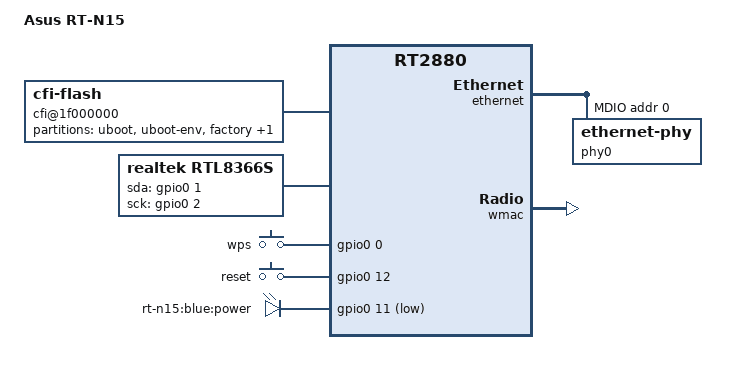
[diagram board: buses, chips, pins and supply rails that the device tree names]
/dts-v1/;

#include "rt2880.dtsi"

/ {
	#address-cells = <1>;
	#size-cells = <1>;
	compatible = "RT-N15", "ralink,rt2880-soc";
	model = "Asus RT-N15";

	cfi@1f000000 {
		compatible = "cfi-flash";
		reg = <0x1f000000 0x800000>;
		bank-width = <2>;
		device-width = <2>;
		#address-cells = <1>;
		#size-cells = <1>;

		partition@0 {
			label = "uboot";
			reg = <0x0 0x30000>;
			read-only;
		};

		partition@30000 {
			label = "uboot-env";
			reg = <0x30000 0x10000>;
			read-only;
		};

		factory: partition@40000 {
			label = "factory";
			reg = <0x40000 0x10000>;
			read-only;
		};

		partition@50000 {
			label = "firmware";
			reg = <0x50000 0x3b0000>;
		};
	};

	rtl8366s {
		compatible = "realtek,rtl8366s";
		gpio-sda = <&gpio0 1 0>;
		gpio-sck = <&gpio0 2 0>;
	};

	gpio-keys-polled {
		compatible = "gpio-keys-polled";
		#address-cells = <1>;
		#size-cells = <0>;
		poll-interval = <100>;

		wps {
			label = "wps";
			gpios = <&gpio0 0 0>;
			linux,code = <0x211>;
		};

		reset {
			label = "reset";
			gpios = <&gpio0 12 0>;
			linux,code = <0x198>;
		};
	};

	gpio-leds {
		compatible = "gpio-leds";

		power {
			label = "rt-n15:blue:power";
			gpios = <&gpio0 11 1>;
		};
	};
};

&gpio0 {
	status = "okay";
};

&pinctrl {
	state_default: pinctrl0 {
		gpio {
			ralink,group = "i2c", "uartlite", "mdio";
			ralink,function = "gpio";
		};
	};
};

&ethernet {
	status = "okay";
	mtd-mac-address = <&factory 0x4>;

	port@0 {
		mediatek,fixed-link = <1000 1 1 1>;
	};

	mdio-bus {
		status = "okay";

		phy0: ethernet-phy@0 {
			phy-mode = "mii";
			reg = <0>;
		};
	};
};

&wmac {
	ralink,mtd-eeprom = <&factory 0>;
};
